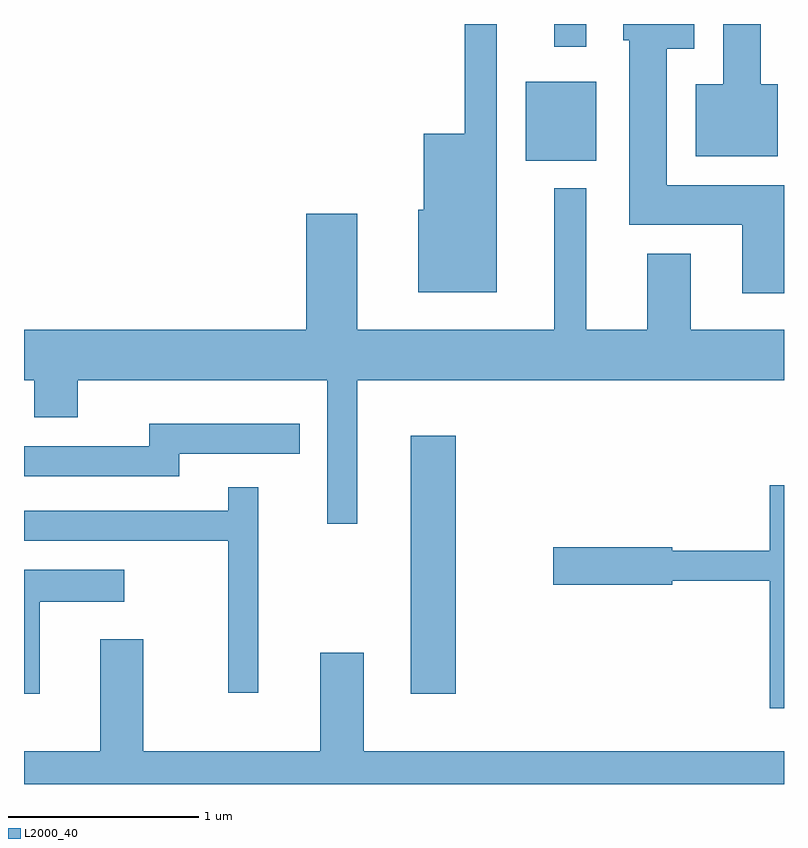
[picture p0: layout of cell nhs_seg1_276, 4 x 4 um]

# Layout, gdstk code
import gdstk
lib = gdstk.Library(unit=1e-6, precision=1e-09)
def R(c, l, rs):  # rectangles x0, y0, x1, y1
    for r in rs: c.add(gdstk.rectangle(r[:2], r[2:], *l))
def P(c, l, *ps):  # polygons
    for p in ps: c.add(gdstk.Polygon(p, *l))
L2000_40 = (2000, 40)

nhs_seg1_276 = lib.new_cell('nhs_seg1_276')
R(nhs_seg1_276, L2000_40, [(195.646,860.186,195.884,861.544), (196.251,862.991,196.624,863.409), (196.401,863.593,196.569,863.712)])
P(nhs_seg1_276, L2000_40, [(196.099,863.712),(195.931,863.712),(195.931,863.134),(195.716,863.134),(195.716,862.734),(195.686,862.734),(195.686,862.301),(196.099,862.301)],
  [(197.611,862.864),(196.994,862.864),(196.994,863.581),(197.139,863.581),(197.139,863.712),(196.766,863.712),(196.766,863.626),(196.796,863.626),(196.796,862.656),(197.391,862.656),(197.391,862.296),(197.611,862.296)],
  [(197.579,863.394),(197.489,863.394),(197.489,863.712),(197.291,863.712),(197.291,863.394),(197.146,863.394),(197.146,863.016),(197.579,863.016)],
  [(195.364,861.836),(197.611,861.836),(197.611,862.104),(197.119,862.104),(197.119,862.504),(196.891,862.504),(196.891,862.104),(196.569,862.104),(196.569,862.848),(196.401,862.848),(196.401,862.104),(195.364,862.104),(195.364,862.714),(195.096,862.714),(195.096,862.104),(193.611,862.104),(193.611,861.836),(193.666,861.836),(193.666,861.641),(193.894,861.641),(193.894,861.836),(195.206,861.836),(195.206,861.083),(195.364,861.083)],
  [(194.429,861.451),(195.063,861.451),(195.063,861.609),(194.271,861.609),(194.271,861.489),(193.611,861.489),(193.611,861.331),(194.429,861.331)],
  [(197.611,861.284),(197.536,861.284),(197.536,860.939),(197.024,860.939),(197.024,860.959),(196.396,860.959),(196.396,860.761),(197.024,860.761),(197.024,860.781),(197.536,860.781),(197.536,860.111),(197.611,860.111)],
  [(194.844,861.273),(194.686,861.273),(194.686,861.149),(193.611,861.149),(193.611,860.991),(194.686,860.991),(194.686,860.193),(194.844,860.193)],
  [(193.694,860.671),(194.138,860.671),(194.138,860.839),(193.611,860.839),(193.611,860.186),(193.694,860.186)],
  [(197.611,859.884),(195.399,859.884),(195.399,860.404),(195.171,860.404),(195.171,859.884),(194.239,859.884),(194.239,860.474),(194.011,860.474),(194.011,859.884),(193.611,859.884),(193.611,859.712),(197.611,859.712)])

lib.write_gds('nhs_seg1_276.gds')
